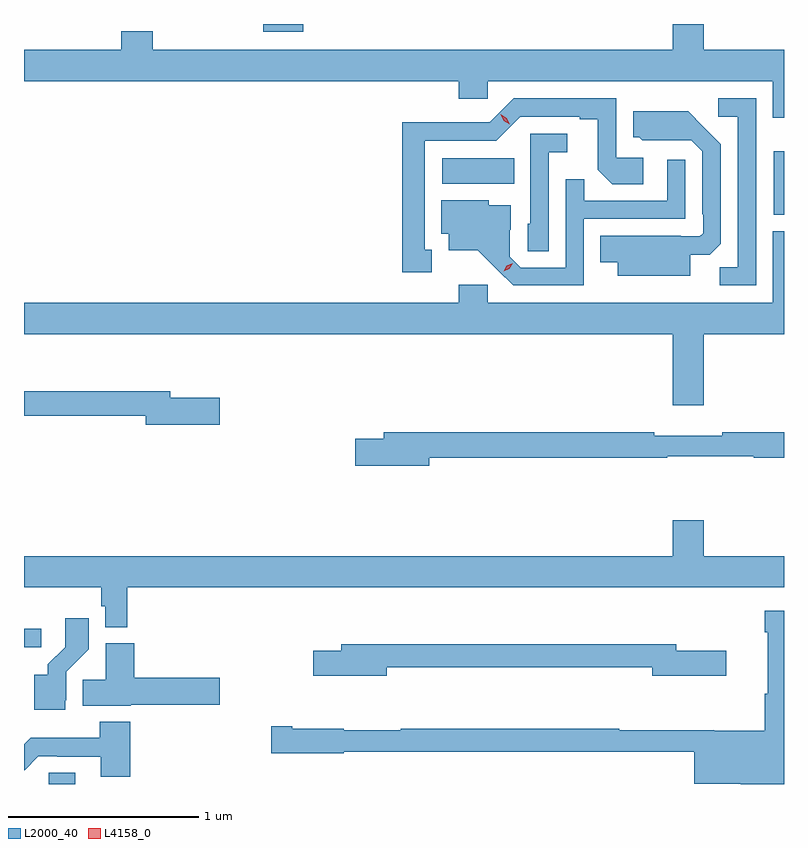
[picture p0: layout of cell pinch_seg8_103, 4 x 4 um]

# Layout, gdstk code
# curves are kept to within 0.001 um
import gdstk
lib = gdstk.Library(unit=1e-6, precision=1e-09)
def R(c, l, rs):  # rectangles x0, y0, x1, y1
    for r in rs: c.add(gdstk.rectangle(r[:2], r[2:], *l))
def P(c, l, *ps):  # polygons
    for p in ps: c.add(gdstk.Polygon(p, *l))
L2000_40 = (2000, 40)
L4158_0 = (4158, 0)

pinch_seg8_103 = lib.new_cell('pinch_seg8_103')
R(pinch_seg8_103, L2000_40, [(1036.848,1103.476,1036.987,1103.534), (1036.718,1104.195,1036.81,1104.294), (1040.663,1106.471,1040.718,1106.806), (1038.918,1106.636,1039.298,1106.77), (1037.978,1107.435,1038.188,1107.476)])
P(pinch_seg8_103, L2000_40, [(1040.718,1107.34),(1040.296,1107.34),(1040.296,1107.476),(1040.132,1107.476),(1040.132,1107.34),(1037.396,1107.34),(1037.396,1107.439),(1037.231,1107.439),(1037.231,1107.34),(1036.718,1107.34),(1036.718,1107.176),(1039.007,1107.176),(1039.007,1107.083),(1039.158,1107.083),(1039.158,1107.176),(1040.66,1107.176),(1040.66,1106.982),(1040.718,1106.982)],
  [(1038.865,1106.289),(1038.826,1106.289),(1038.826,1106.862),(1039.203,1106.862),(1039.329,1106.988),(1039.643,1106.988),(1039.643,1106.976),(1039.737,1106.976),(1039.737,1106.708),(1039.813,1106.632),(1039.978,1106.632),(1039.978,1106.772),(1039.836,1106.772),(1039.836,1107.084),(1039.296,1107.084),(1039.17,1106.958),(1038.948,1106.958),(1038.948,1106.96),(1038.708,1106.96),(1038.708,1106.169),(1038.865,1106.169)],
  [(1040.571,1107.084),(1040.373,1107.084),(1040.373,1106.988),(1040.475,1106.988),(1040.475,1106.195),(1040.38,1106.195),(1040.38,1106.1),(1040.571,1106.1)],
  [(1040.224,1106.261),(1040.326,1106.261),(1040.385,1106.32),(1040.385,1106.842),(1040.213,1107.016),(1039.925,1107.016),(1039.925,1106.88),(1039.956,1106.88),(1039.972,1106.864),(1040.229,1106.865),(1040.289,1106.805),(1040.289,1106.476),(1040.292,1106.476),(1040.292,1106.376),(1040.274,1106.358),(1040.174,1106.358),(1040.174,1106.362),(1039.75,1106.362),(1039.75,1106.222),(1039.844,1106.222),(1039.844,1106.15),(1040.224,1106.15)],
  [(1039.479,1106.801),(1039.576,1106.801),(1039.576,1106.898),(1039.383,1106.898),(1039.383,1106.424),(1039.368,1106.424),(1039.368,1106.281),(1039.479,1106.281)],
  [(1039.665,1106.451),(1040.199,1106.451),(1040.199,1106.761),(1040.103,1106.761),(1040.103,1106.547),(1039.667,1106.547),(1039.667,1106.66),(1039.569,1106.66),(1039.569,1106.193),(1039.332,1106.193),(1039.275,1106.25),(1039.275,1106.392),(1039.279,1106.392),(1039.279,1106.521),(1039.164,1106.521),(1039.164,1106.548),(1038.914,1106.548),(1038.914,1106.372),(1038.953,1106.372),(1038.953,1106.285),(1039.105,1106.285),(1039.292,1106.1),(1039.665,1106.1)],
  [(1040.296,1105.844),(1040.718,1105.844),(1040.718,1106.386),(1040.66,1106.386),(1040.66,1106.008),(1039.158,1106.008),(1039.158,1106.104),(1039.007,1106.104),(1039.007,1106.008),(1036.718,1106.008),(1036.718,1105.844),(1040.132,1105.844),(1040.132,1105.47),(1040.296,1105.47)],
  [(1037.749,1105.509),(1037.488,1105.509),(1037.488,1105.543),(1036.718,1105.543),(1036.718,1105.414),(1037.36,1105.414),(1037.36,1105.367),(1037.749,1105.367)],
  [(1038.85,1105.192),(1040.103,1105.192),(1040.103,1105.2),(1040.56,1105.2),(1040.56,1105.192),(1040.718,1105.192),(1040.718,1105.328),(1040.392,1105.328),(1040.392,1105.309),(1040.036,1105.309),(1040.036,1105.328),(1038.611,1105.328),(1038.611,1105.292),(1038.462,1105.292),(1038.462,1105.15),(1038.85,1105.15)],
  [(1036.718,1104.512),(1037.125,1104.512),(1037.125,1104.411),(1037.145,1104.411),(1037.145,1104.302),(1037.261,1104.302),(1037.261,1104.512),(1040.718,1104.512),(1040.718,1104.676),(1040.296,1104.676),(1040.296,1104.865),(1040.132,1104.865),(1040.132,1104.676),(1036.718,1104.676)],
  [(1040.718,1104.388),(1040.616,1104.388),(1040.616,1104.275),(1040.633,1104.275),(1040.633,1103.951),(1040.616,1103.951),(1040.616,1103.755),(1040.35,1103.755),(1040.35,1103.759),(1039.85,1103.759),(1039.85,1103.767),(1038.702,1103.767),(1038.702,1103.759),(1038.402,1103.759),(1038.402,1103.767),(1038.13,1103.767),(1038.13,1103.78),(1038.018,1103.78),(1038.018,1103.638),(1038.402,1103.638),(1038.402,1103.646),(1040.246,1103.646),(1040.246,1103.477),(1040.49,1103.477),(1040.49,1103.476),(1040.718,1103.476)],
  [(1036.936,1103.916),(1036.941,1103.916),(1036.941,1104.067),(1037.06,1104.186),(1037.06,1104.349),(1036.935,1104.349),(1036.935,1104.197),(1036.844,1104.107),(1036.844,1104.052),(1036.772,1104.052),(1036.772,1103.867),(1036.936,1103.867)],
  [(1037.28,1103.894),(1037.749,1103.894),(1037.749,1104.036),(1037.297,1104.036),(1037.297,1104.217),(1037.147,1104.217),(1037.147,1104.026),(1037.026,1104.026),(1037.026,1103.888),(1037.28,1103.888)],
  [(1038.628,1104.09),(1040.024,1104.09),(1040.024,1104.047),(1040.413,1104.047),(1040.413,1104.177),(1040.152,1104.177),(1040.152,1104.211),(1038.389,1104.211),(1038.389,1104.177),(1038.24,1104.177),(1038.24,1104.047),(1038.628,1104.047)],
  [(1037.276,1103.803),(1037.116,1103.803),(1037.116,1103.719),(1036.753,1103.719),(1036.718,1103.684),(1036.718,1103.549),(1036.721,1103.549),(1036.794,1103.622),(1036.894,1103.622),(1036.894,1103.619),(1037.123,1103.619),(1037.123,1103.514),(1037.276,1103.514)])
P(pinch_seg8_103, L4158_0, [(1039.242,1106.174),(1039.242,1106.174),(1039.259,1106.204),(1039.29,1106.218),(1039.29,1106.218),(1039.29,1106.218),(1039.273,1106.189),(1039.242,1106.174)],
  [(1039.275,1106.948),(1039.243,1106.967),(1039.226,1106.999),(1039.226,1107),(1039.226,1107),(1039.258,1106.98),(1039.275,1106.948),(1039.275,1106.948)])

lib.write_gds('pinch_seg8_103.gds')
